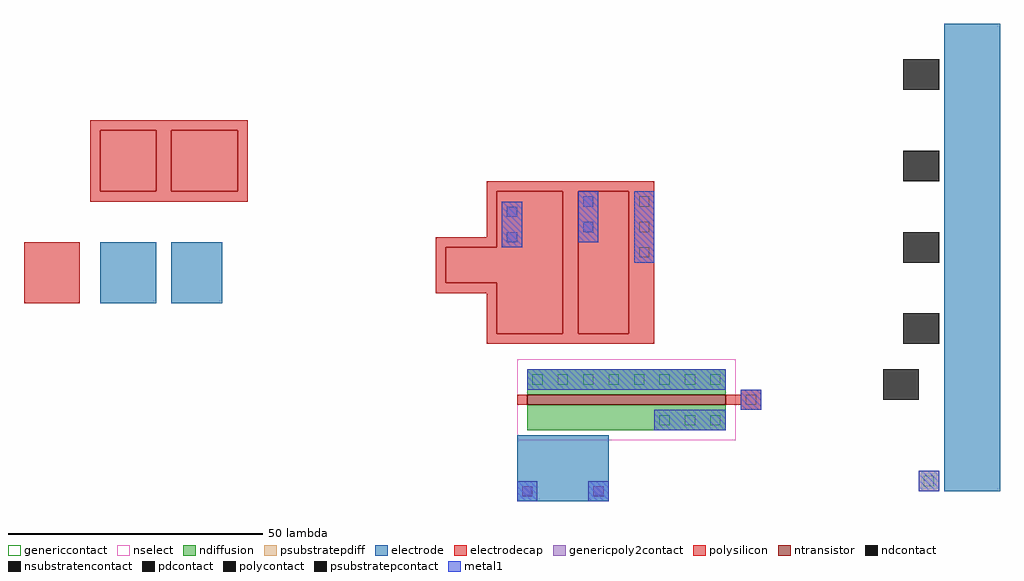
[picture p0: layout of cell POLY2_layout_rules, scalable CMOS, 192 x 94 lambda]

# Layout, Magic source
magic
tech scmos
<< nselect >>
rect -14 -30 29 -14
<< electrode >>
rect -96 -3 -85 9
rect -82 -3 -72 9
rect -14 -42 4 -29
rect 70 -40 81 52
<< electrodecap >>
rect -96 19 -85 31
rect -82 19 -69 31
rect -18 8 -5 19
rect -28 1 -5 8
rect -18 -9 -5 1
rect -2 -9 8 19
<< genericpoly2contact >>
rect -1 16 1 18
rect -16 14 -14 16
rect -1 11 1 13
rect -16 9 -14 11
rect -13 -41 -11 -39
rect 1 -41 3 -39
<< ntransistor >>
rect -12 -23 27 -21
<< ndiffusion >>
rect -12 -21 27 -16
rect -12 -28 27 -23
<< ndcontact >>
rect 62 39 69 45
<< pdcontact >>
rect 62 21 69 27
<< psubstratepdiff >>
rect 65 -40 69 -36
<< psubstratepcontact >>
rect 62 5 69 11
<< nsubstratencontact >>
rect 62 -11 69 -5
<< polysilicon >>
rect -98 31 -67 33
rect -98 19 -96 31
rect -85 19 -82 31
rect -69 19 -67 31
rect -98 17 -67 19
rect -20 19 13 21
rect -20 10 -18 19
rect -111 -3 -100 9
rect -30 8 -18 10
rect -30 1 -28 8
rect -30 -1 -18 1
rect -20 -9 -18 -1
rect -5 -9 -2 19
rect 8 -9 13 19
rect -20 -11 13 -9
rect 30 -21 34 -20
rect -14 -23 -12 -21
rect 27 -23 34 -21
rect 30 -24 34 -23
<< polycontact >>
rect 58 -22 65 -16
<< genericcontact >>
rect 10 16 12 18
rect 10 11 12 13
rect 10 6 12 8
rect -11 -19 -9 -17
rect -6 -19 -4 -17
rect -1 -19 1 -17
rect 4 -19 6 -17
rect 9 -19 11 -17
rect 14 -19 16 -17
rect 19 -19 21 -17
rect 24 -19 26 -17
rect 31 -23 33 -21
rect 14 -27 16 -25
rect 19 -27 21 -25
rect 24 -27 26 -25
rect 66 -39 68 -37
<< metal1 >>
rect -17 8 -13 17
rect -2 9 2 19
rect 9 5 13 19
rect -12 -20 27 -16
rect 30 -24 34 -20
rect 13 -28 27 -24
rect -14 -42 -10 -38
rect 0 -42 4 -38
rect 65 -40 69 -36
<< end >>
